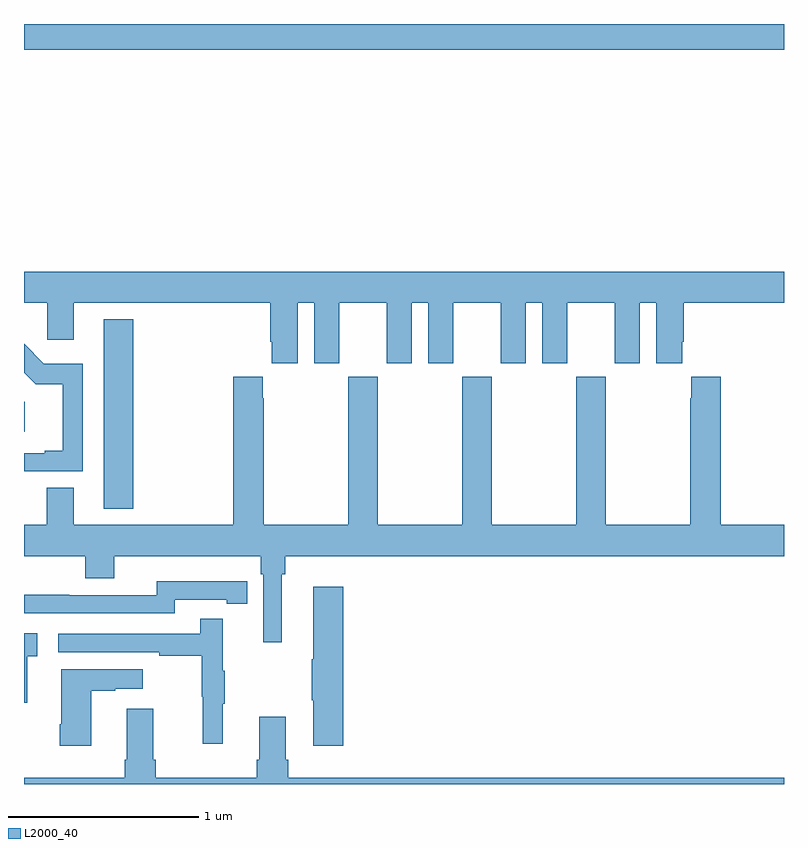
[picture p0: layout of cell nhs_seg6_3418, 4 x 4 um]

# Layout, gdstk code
import gdstk
lib = gdstk.Library(unit=1e-6, precision=1e-09)
def R(c, l, rs):  # rectangles x0, y0, x1, y1
    for r in rs: c.add(gdstk.rectangle(r[:2], r[2:], *l))
def P(c, l, *ps):  # polygons
    for p in ps: c.add(gdstk.Polygon(p, *l))
L2000_40 = (2000, 40)

nhs_seg6_3418 = lib.new_cell('nhs_seg6_3418')
R(nhs_seg6_3418, L2000_40, [(313.421,916.949,313.574,917.947), (313,917.354,313.003,917.511), (313,919.364,317,919.5)])
P(nhs_seg6_3418, L2000_40, [(314.44,918.032),(314.528,918.032),(314.528,917.715),(314.659,917.715),(314.659,918.032),(314.909,918.032),(314.909,917.715),(315.04,917.715),(315.04,918.032),(315.128,918.032),(315.128,917.715),(315.259,917.715),(315.259,918.032),(315.509,918.032),(315.509,917.715),(315.64,917.715),(315.64,918.032),(315.728,918.032),(315.728,917.715),(315.859,917.715),(315.859,918.032),(316.109,918.032),(316.109,917.715),(316.24,917.715),(316.24,918.032),(316.328,918.032),(316.328,917.715),(316.465,917.715),(316.465,917.827),(316.472,917.827),(316.472,918.032),(317,918.032),(317,918.196),(313,918.196),(313,918.032),(313.122,918.032),(313.122,917.838),(313.261,917.838),(313.261,918.032),(314.297,918.032),(314.297,917.827),(314.303,917.827),(314.303,917.715),(314.44,917.715)],
  [(313.309,917.712),(313.104,917.712),(313,917.816),(313,917.664),(313.061,917.603),(313.205,917.603),(313.205,917.254),(313.109,917.254),(313.109,917.241),(313,917.241),(313,917.145),(313.309,917.145)],
  [(314.356,916.604),(314.375,916.604),(314.375,916.7),(317,916.7),(317,916.864),(316.667,916.864),(316.667,917.644),(316.511,917.644),(316.511,917.531),(316.507,917.531),(316.507,916.864),(316.062,916.864),(316.062,917.644),(315.907,917.644),(315.907,916.864),(315.462,916.864),(315.462,917.644),(315.307,917.644),(315.307,916.864),(314.862,916.864),(314.862,917.644),(314.707,917.644),(314.707,916.864),(314.262,916.864),(314.262,917.531),(314.257,917.531),(314.257,917.644),(314.102,917.644),(314.102,916.864),(313.261,916.864),(313.261,917.059),(313.121,917.059),(313.121,916.864),(313,916.864),(313,916.7),(313.322,916.7),(313.322,916.583),(313.474,916.583),(313.474,916.7),(314.246,916.7),(314.246,916.604),(314.259,916.604),(314.259,916.245),(314.356,916.245)],
  [(313.794,916.47),(314.066,916.47),(314.066,916.45),(314.174,916.45),(314.174,916.566),(314.066,916.566),(314.066,916.567),(313.698,916.567),(313.698,916.494),(313.238,916.494),(313.238,916.496),(313,916.496),(313,916.398),(313.794,916.398)],
  [(314.681,916.537),(314.522,916.537),(314.522,916.157),(314.515,916.157),(314.515,915.94),(314.522,915.94),(314.522,915.702),(314.681,915.702)],
  [(314.045,915.923),(314.056,915.923),(314.056,916.097),(314.045,916.097),(314.045,916.369),(313.927,916.369),(313.927,916.29),(313.179,916.29),(313.179,916.194),(313.711,916.194),(313.711,916.174),(313.935,916.174),(313.935,915.96),(313.942,915.96),(313.942,915.711),(314.045,915.711)],
  [(313.016,916.173),(313.069,916.173),(313.069,916.294),(313,916.294),(313,915.927),(313.016,915.927)],
  [(313.354,915.991),(313.481,915.991),(313.481,916.001),(313.624,916.001),(313.624,916.105),(313.196,916.105),(313.196,915.814),(313.189,915.814),(313.189,915.702),(313.354,915.702)],
  [(317,915.532),(314.39,915.532),(314.39,915.628),(314.377,915.628),(314.377,915.853),(314.237,915.853),(314.237,915.628),(314.225,915.628),(314.225,915.532),(313.694,915.532),(313.694,915.628),(313.681,915.628),(313.681,915.895),(313.541,915.895),(313.541,915.628),(313.529,915.628),(313.529,915.532),(313,915.532),(313,915.5),(317,915.5)])

lib.write_gds('nhs_seg6_3418.gds')
